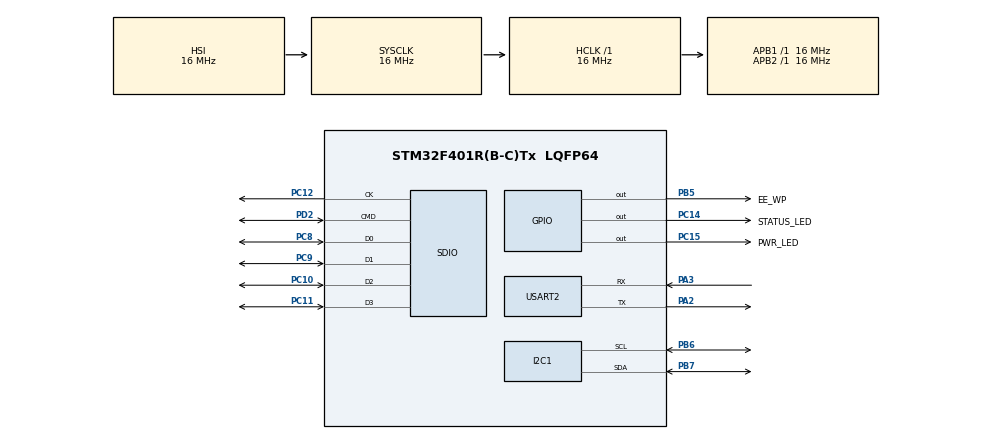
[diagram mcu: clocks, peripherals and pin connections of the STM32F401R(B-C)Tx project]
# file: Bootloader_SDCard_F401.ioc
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Dma.Request0=SDIO_RX
Dma.Request1=SDIO_TX
Dma.SDIO_RX.0.Direction=DMA_PERIPH_TO_MEMORY
Dma.SDIO_RX.0.FIFOMode=DMA_FIFOMODE_ENABLE
Dma.SDIO_RX.0.FIFOThreshold=DMA_FIFO_THRESHOLD_FULL
Dma.SDIO_RX.0.Instance=DMA2_Stream3
Dma.SDIO_RX.0.MemBurst=DMA_MBURST_INC4
Dma.SDIO_RX.0.MemDataAlignment=DMA_MDATAALIGN_WORD
Dma.SDIO_RX.0.MemInc=DMA_MINC_ENABLE
Dma.SDIO_RX.0.Mode=DMA_PFCTRL
Dma.SDIO_RX.0.PeriphBurst=DMA_PBURST_INC4
Dma.SDIO_RX.0.PeriphDataAlignment=DMA_PDATAALIGN_WORD
Dma.SDIO_RX.0.PeriphInc=DMA_PINC_DISABLE
Dma.SDIO_RX.0.Priority=DMA_PRIORITY_LOW
Dma.SDIO_TX.1.Direction=DMA_MEMORY_TO_PERIPH
Dma.SDIO_TX.1.FIFOMode=DMA_FIFOMODE_ENABLE
Dma.SDIO_TX.1.FIFOThreshold=DMA_FIFO_THRESHOLD_FULL
Dma.SDIO_TX.1.Instance=DMA2_Stream6
Dma.SDIO_TX.1.MemBurst=DMA_MBURST_INC4
Dma.SDIO_TX.1.MemDataAlignment=DMA_MDATAALIGN_WORD
Dma.SDIO_TX.1.MemInc=DMA_MINC_ENABLE
Dma.SDIO_TX.1.Mode=DMA_PFCTRL
Dma.SDIO_TX.1.PeriphBurst=DMA_PBURST_INC4
Dma.SDIO_TX.1.PeriphDataAlignment=DMA_PDATAALIGN_WORD
Dma.SDIO_TX.1.PeriphInc=DMA_PINC_DISABLE
Dma.SDIO_TX.1.Priority=DMA_PRIORITY_LOW
FATFS.USE_DMA_CODE_SD=1
FATFS._MAX_SS=4096
I2C1.I2C_Mode=I2C_Fast
Mcu.Family=STM32F4
Mcu.Name=STM32F401R(B-C)Tx
Mcu.Package=LQFP64
NVIC.DMA2_Stream3_IRQn=true\:0\:0\:false\:false\:true\:false\:true\:true
NVIC.DMA2_Stream6_IRQn=true\:0\:0\:false\:false\:true\:false\:true\:true
NVIC.PriorityGroup=NVIC_PRIORITYGROUP_4
NVIC.SDIO_IRQn=true\:0\:0\:false\:false\:true\:true\:true\:true
PA13.Mode=Serial_Wire
PA13.Signal=SYS_JTMS-SWDIO
PA14.Mode=Serial_Wire
PA14.Signal=SYS_JTCK-SWCLK
PA2.Mode=Asynchronous
PA2.Signal=USART2_TX
PA3.Mode=Asynchronous
PA3.Signal=USART2_RX
PB5.GPIO_Label=EE_WP
PB5.Signal=GPIO_Output
PB6.Mode=I2C
PB6.Signal=I2C1_SCL
PB7.Mode=I2C
PB7.Signal=I2C1_SDA
PC10.Mode=SD_4_bits_Wide_bus
PC10.Signal=SDIO_D2
PC11.Mode=SD_4_bits_Wide_bus
PC11.Signal=SDIO_D3
PC12.Mode=SD_4_bits_Wide_bus
PC12.Signal=SDIO_CK
PC14-OSC32_IN.GPIO_Label=STATUS_LED
PC14-OSC32_IN.Signal=GPIO_Output
PC15-OSC32_OUT.GPIO_Label=PWR_LED
PC15-OSC32_OUT.Signal=GPIO_Output
PC8.Mode=SD_4_bits_Wide_bus
PC8.Signal=SDIO_D0
PC9.Mode=SD_4_bits_Wide_bus
PC9.Signal=SDIO_D1
PD2.Mode=SD_4_bits_Wide_bus
PD2.Signal=SDIO_CMD
PH0\ -\ OSC_IN.Mode=HSE-External-Clock-Source
PH0\ -\ OSC_IN.Signal=RCC_OSC_IN
PH1\ -\ OSC_OUT.Mode=HSE-External-Clock-Source
PH1\ -\ OSC_OUT.Signal=RCC_OSC_OUT
ProjectManager.HeapSize=0x200
ProjectManager.StackSize=0x400
ProjectManager.TargetToolchain=STM32CubeIDE
RCC.AHBFreq_Value=16000000
RCC.APB1Freq_Value=16000000
RCC.APB2Freq_Value=16000000
RCC.CortexFreq_Value=16000000
RCC.HSE_VALUE=25000000
RCC.HSI_VALUE=16000000
RCC.LSE_VALUE=32768
RCC.SYSCLKFreq_VALUE=16000000
RCC.VCOOutputFreq_Value=192000000
SDIO.ClockDiv=4
USART2.VirtualMode=VM_ASYNC
VP_FATFS_VS_SDIO.Mode=SDIO
board=custom

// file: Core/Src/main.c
/* USER CODE BEGIN Header */
/**
 ******************************************************************************
 * @file           : main.c
 * @brief          : Main program body
 ******************************************************************************
 * @attention
 *
 * Copyright (c) 2024 STMicroelectronics.
 * All rights reserved.
 *
 * This software is licensed under terms that can be found in the LICENSE file
 * in the root directory of this software component.
 * If no LICENSE file comes with this software, it is provided AS-IS.
 *
 ******************************************************************************
 */
/* USER CODE END Header */
#include "main.h"
#include "dma.h"
#include "fatfs.h"
#include "i2c.h"
#include "sdio.h"
#include "usart.h"
#include "gpio.h"

/* USER CODE BEGIN Includes */
#include "stdarg.h"
#include "SDCard.h"
#include "app_bootloader.h"
#include "ee24.h"
#include "stdbool.h"
/* USER CODE END Includes */

/* USER CODE BEGIN PV */

const char deffileName[30] = "Project1.bin";
char fileName[30] = { 0 };
uint8_t binData[1000] = { 0 };

sdcard_t SDCard = { 0 };
/* USER CODE END PV */

void SystemClock_Config(void);
/* USER CODE BEGIN PFP */
void print(const char *fmt, ...) {
	static char buffer[256];
	va_list args;
	va_start(args, fmt);
	vsnprintf(buffer, sizeof(buffer), fmt, args);
	va_end(args);

	uint16_t len = strlen(buffer);
	HAL_UART_Transmit(&huart2, buffer, len, 500);
}

bool checkFileSizeOk(uint32_t sz);

bool bootloader_upload_firmware(void);
void jump_to_user_application_code(void);

bool ee_getBLUpdateStatus(uint8_t* blust);
bool ee_setBLUpdateStatus(uint8_t blust);
bool ee_getBLFileNameLen(uint8_t *len);
bool ee_getBLFileName(char *str);
bool ee_setBLFileName(char *str, size_t len);

/* USER CODE END PFP */

int main(void) {

	/* MCU Configuration--------------------------------------------------------*/

	/* Reset of all peripherals, Initializes the Flash interface and the Systick. */
	HAL_Init();

	/* Configure the system clock */
	SystemClock_Config();

	/* Initialize all configured peripherals */
	MX_GPIO_Init();
	MX_DMA_Init();
	MX_SDIO_SD_Init();
	MX_USART2_UART_Init();
	MX_FATFS_Init();
	MX_I2C1_Init();
	/* USER CODE BEGIN 2 */
	print("Success: Working\n");
	print("Log: Now Entering in Bootloader.....\r\n");

	HAL_Delay(100);
	uint8_t bl_stat = 0;
	if (ee_getBLUpdateStatus(&bl_stat)) {
		if (bl_stat) {
			print("Log: New update found.\r\n");
			if(!ee_getBLFileName(fileName)){
				strncpy(fileName, deffileName, strlen(deffileName));
				print("Error: Couldn't fetch file name from eeprom.\r\nUsing Default File Name '%s'", fileName);
			}
			if(ee_setBLUpdateStatus(0)){
				print("Log: New Firmware Update in Progress.........\r\n");
				if (sd_mount(&SDCard, "/")) {
					SDCard.mounted = 1;
					print("Log: Mounted Successfully (%i)\r\n", SDCard.fres);
					if(!bootloader_upload_firmware()){
						ee_setBLUpdateStatus(1);
					}
					print("Log: Resetting MCU\r\n");
					NVIC_SystemReset();
				} else {
					SDCard.mounted = 0;
					print("ERROR: Mounting ERROR (%i)\r\n", SDCard.fres);
					ee_setBLUpdateStatus(1);
				}
			}
			else{
				goto user_app;
			}
		} else {
			print("Log: No update found.\r\n");
			print("Log: Jumping to application Code.........\r\n");
			jump_to_user_application_code();
		}
	} else {
		goto user_app;
	}
user_app:
	print("ERROR: Some Problem in reading Data from EEPROM.\r\n");
	print("Log: Jumping to application Code.........\r\n");
	jump_to_user_application_code();

	/* USER CODE END 2 */

	/* Infinite loop */
	while (1) {

	}
}

void SystemClock_Config(void) {
	RCC_OscInitTypeDef RCC_OscInitStruct = { 0 };
	RCC_ClkInitTypeDef RCC_ClkInitStruct = { 0 };

	/** Configure the main internal regulator output voltage
	 */
	__HAL_RCC_PWR_CLK_ENABLE();
	__HAL_PWR_VOLTAGESCALING_CONFIG(PWR_REGULATOR_VOLTAGE_SCALE2);

	/** Initializes the RCC Oscillators according to the specified parameters
	 * in the RCC_OscInitTypeDef structure.
	 */
	RCC_OscInitStruct.OscillatorType = RCC_OSCILLATORTYPE_HSI;
	RCC_OscInitStruct.HSIState = RCC_HSI_ON;
	RCC_OscInitStruct.HSICalibrationValue = RCC_HSICALIBRATION_DEFAULT;
	RCC_OscInitStruct.PLL.PLLState = RCC_PLL_ON;
	RCC_OscInitStruct.PLL.PLLSource = RCC_PLLSOURCE_HSI;
	RCC_OscInitStruct.PLL.PLLM = 16;
	RCC_OscInitStruct.PLL.PLLN = 192;
	RCC_OscInitStruct.PLL.PLLP = RCC_PLLP_DIV2;
	RCC_OscInitStruct.PLL.PLLQ = 4;
	if (HAL_RCC_OscConfig(&RCC_OscInitStruct) != HAL_OK) {
		Error_Handler();
	}

	/** Initializes the CPU, AHB and APB buses clocks
	 */
	RCC_ClkInitStruct.ClockType = RCC_CLOCKTYPE_HCLK | RCC_CLOCKTYPE_SYSCLK
			| RCC_CLOCKTYPE_PCLK1 | RCC_CLOCKTYPE_PCLK2;
	RCC_ClkInitStruct.SYSCLKSource = RCC_SYSCLKSOURCE_HSI;
	RCC_ClkInitStruct.AHBCLKDivider = RCC_SYSCLK_DIV1;
	RCC_ClkInitStruct.APB1CLKDivider = RCC_HCLK_DIV1;
	RCC_ClkInitStruct.APB2CLKDivider = RCC_HCLK_DIV1;

	if (HAL_RCC_ClockConfig(&RCC_ClkInitStruct, FLASH_LATENCY_0) != HAL_OK) {
		Error_Handler();
	}
}

/* USER CODE BEGIN 4 */

void jump_to_user_application_code(void) {
	//just a function pointer to hold the address of the reset handler of the user app.
	void (*app_reset_handler)(void);

	print("Log: bootloader_jump_to_user_app\n");

	// 1. configure the MSP by reading the value from the base address of the sector 2
	uint32_t msp_value = *(volatile uint32_t*) FLASH_ADDR_APP;
	print("Log: MSP value : %#x\n", msp_value);

	//This function comes from CMSIS.
	__set_MSP(msp_value);

	//SCB->VTOR = FLASH_SECTOR1_BASE_ADDRESS;

	/* 2. Now fetch the reset handler address of the user application
	 * from the location FLASH_SECTOR2_BASE_ADDRESS+4
	 */
	uint32_t resethandler_address =
			*(volatile uint32_t*) (FLASH_ADDR_APP + 4);

	app_reset_handler = (void*) resethandler_address;

//	print("BL_DEBUG_MSG: app reset handler addr : %#x\n", app_reset_handler);

	//3. jump to reset handler of the user application
	app_reset_handler();
}

bool bootloader_upload_firmware(void) {
	if (sd_fileExists(&SDCard, fileName)) {
		sd_getFileInfo(&SDCard, fileName);
		uint32_t noBytes = SDCard.fno.fsize;
		print("Log: Total Size of File is : %d\r\n", noBytes);
		if(!checkFileSizeOk(noBytes)){
			print("Error: File Size exceed the flash by %d.\r\n", noBytes - FLASH_SIZE - FLASH_BL_SIZE);
			return false;
		}
		if(!execute_flash_erase(3, 2)){
			print("Error: Could not erase flash memory.\r\n");
			return false;
		}
		else{
			print("Log: Erasing Flash Memory from 0x%X to 0x%X.\r\n", FLASH_ADDR_APP, FLASH_ADDR_APP + FLASH_SIZE - FLASH_BL_SIZE - 1);
		}

		uint32_t seekPtr = 0;
		while (noBytes) {
			seekPtr = SDCard.fil.fptr;
			if (noBytes >= 1000)
				if (sd_fileseekread(&SDCard, fileName, seekPtr, binData,
						1000)) {
					noBytes -= SDCard.br;
					print("Log: Data Reading Success at Addr: %X, %d\r\n",
							SDCard.fil.fptr, SDCard.fil.fptr);
				} else {
					print("ERROR: Data Reading Failed at Addr: %X, %d\r\n",
							SDCard.fil.fptr, SDCard.fil.fptr);
				}
			else if (sd_fileseekread(&SDCard, fileName, seekPtr, binData,
					noBytes)) {
				noBytes -= SDCard.br;
				print("Log: Data Reading Success at Addr: %X, %d\r\n",
						SDCard.fil.fptr, SDCard.fil.fptr);
			} else {
				print("Error: Data Reading Failed at Addr: %X, %d\r\n",
						SDCard.fil.fptr, SDCard.fil.fptr);
			}
//			print("Log: Loc Addr: 0x%X\r\n", FLASH_ADDR_APP + seekPtr);
			if(execute_mem_write(binData, FLASH_ADDR_APP + seekPtr, SDCard.br)){
				print("Success: Data written to flash at addr: 0x%X.\r\n", FLASH_ADDR_APP + seekPtr);
			}
			else{
				print("Error: Could not write to flash at addr: 0x%X.\r\n", FLASH_ADDR_APP + seekPtr);
				return false;
			}
			memset(binData, 0, sizeof(binData));
		}
		return true;
	}
		return false;
}

bool ee_getBLUpdateStatus(uint8_t *blust) {
	if (ee24_isConnected()) {
		if (ee24_read(0, blust, 1, 200)) {
			return true;
		}
	}
	return false;
}

bool ee_setBLUpdateStatus(uint8_t blust) {
	if (ee24_isConnected()) {
		if (ee24_write(0, &blust, 1, 500)) {
			return true;
		}
	}
	return false;
}

bool ee_getBLFileNameLen(uint8_t *len) {
	if (ee24_isConnected()) {
		if (ee24_read(21, len, 1, 200)) {
			return true;
		}
	}
	return false;
}

bool ee_getBLFileName(char *str) {
	if (ee24_isConnected()) {
		uint8_t flen = 0;
		if (ee_getBLFileNameLen(&flen)) {
			if (ee24_read(1, str, flen, 200)) {
				return true;
			}
		}
	}
	return false;
}

bool ee_setBLFileName(char *str, size_t len) {

	if (ee24_isConnected()) {
		if (!ee24_write(1, str, len, 200)) {
			return false;
		}
		if (!ee24_write(21, &len, 1, 200)) {
			return false;
		}
		return true;
	}
	return false;
}

bool checkFileSizeOk(uint32_t sz){
	if((FLASH_SIZE - FLASH_BL_SIZE) > sz){
		return true;
	}
	else{
		return false;
	}
}

/* USER CODE END 4 */

void Error_Handler(void) {
	__disable_irq();
	while (1) {
	}
}
